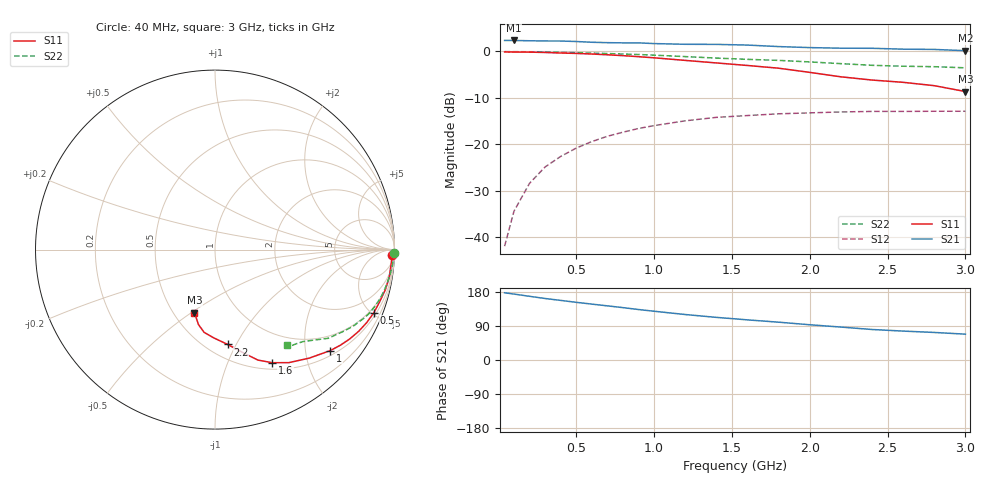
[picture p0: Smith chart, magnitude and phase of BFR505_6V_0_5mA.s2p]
! Filename:  BFR505G.S2P  Version:  3.0
! Philips part #: BFR505  Date: Feb 1992
! Bias condition: Vce=6V, Ic=0.50mA
#  MHz  S  MA  R  50
! Freq  S11  S21  S12  S22  !GUM [dB]
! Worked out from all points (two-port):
!   21 points, 40 MHz to 3 GHz, reference 50 ohm
!   highest |S21| = 2.37 dB at 100 MHz (marker M1); lowest = 0.2 dB at 3 GHz (marker M2)
!   |S21| within 3 dB of the highest: start of sweep to end of sweep
!   lowest |S11| = -8.6 dB at 3 GHz (marker M3), VSWR 2.17, Z = 31.6 - j25.8 ohm
!   |S11| at or under -10 dB: nowhere
!   |S22| runs from -3.5 to 0.0 dB; largest |S21 - S12| = 1.3
!   S11 on the Smith chart (normalised r, x): 40 MHz: 24, -58; 500 MHz: 0.68, -5.11; 1 GHz: 0.61, -2.53; 1.6 GHz: 0.58, -1.46; 2.2 GHz: 0.63, -0.92; 3 GHz: 0.63, -0.52
40  0.988 -1.7  1.312 177.4  0.008 89.6  0.995 -1.2
100  0.985 -4.4  1.313 174.0  0.019 86.8  0.994 -2.7
200  0.983 -8.8  1.303 168.1  0.038 83.0  0.992 -5.6
300  0.975 -13.3  1.296 162.3  0.057 80.0  0.984 -8.5
400  0.962 -17.7  1.295 157.3  0.074 77.0  0.977 -11.2
500  0.952 -21.8  1.279 152.2  0.091 74.6  0.969 -13.9
600  0.938 -25.7  1.256 147.5  0.107 72.1  0.96 -16.4
700  0.921 -29.6  1.243 142.9  0.122 69.6  0.949 -18.8
800  0.901 -33.5  1.237 138.2  0.135 67.1  0.938 -20.9
900  0.878 -37.4  1.237 133.2  0.148 64.7  0.927 -22.9
1000  0.854 -41.2  1.215 128.7  0.159 62.3  0.912 -24.9
1200  0.801 -49.0  1.194 120.0  0.179 57.8  0.88 -29.0
1400  0.752 -56.9  1.191 112.5  0.195 54.2  0.848 -32.5
1600  0.706 -63.2  1.171 105.9  0.204 51.0  0.822 -35.4
1800  0.66 -68.8  1.128 99.8  0.213 49.2  0.801 -38.1
2000  0.595 -74.8  1.1 93.0  0.218 46.7  0.771 -40.4
2200  0.533 -82.4  1.084 86.9  0.223 44.6  0.739 -43.2
2400  0.492 -90.8  1.081 80.5  0.226 43.2  0.709 -46.3
2600  0.465 -97.5  1.058 76.3  0.226 43.1  0.693 -49.2
2800  0.428 -102.4  1.051 72.7  0.227 44.1  0.685 -51.3
3000  0.37 -108.0  1.019 68.2  0.227 45.0  0.666 -52.8
